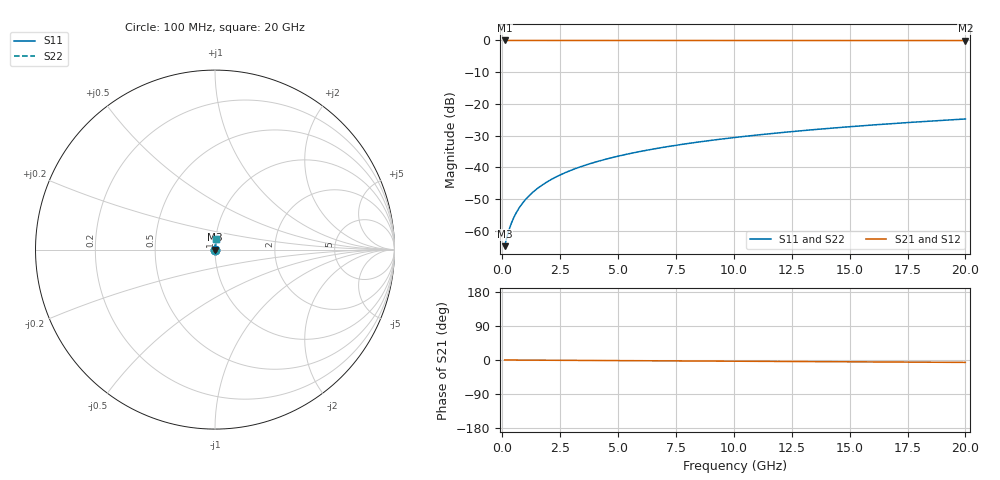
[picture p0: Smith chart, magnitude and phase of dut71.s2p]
! Touchstone file exported from HFSS 2026.1.0
!  File:  C:/ffzhzh/LocalFiles/Ansys_Project_Files/temp_train_TSV_71_1782959226_45748.aedt
!  Generated:  10:29:06 AM Jul  2, 2026
!  Design:  TSV
!  Project:  temp_train_TSV_71_1782959226_45748
! Variables:
!  h_bsmrdl = 2um
!  h_ox = 20um
!  h_rdl = 5um
!  h_sub = 50.29um
!  h_tmrdl = 5um
!  h_tsv = 50.29um
!  h_via = 3um
!  l_bsmrdl = 300um
!  l_sub = 407.24um
!  l_tmrdl = 200um
!  m_sub = 200um
!  pitch = 34.51um
!  r_tsv = 3.62um
!  s_tmrdl = 10um
!  w_bsmrdl = 18um
!  w_sub = 500um
!  w_tmrdl = 12um
!  x_tsv_center1 = 206um
!  x_tsv_center2 = 524um
!  x_tsv_center3 = 736um
!  x_tsv_center4 = 1054um
!  x_tsv_center5 = 1266um
!  x_tsv_center6 = 1584um
# GHz S MA R 50.000000
! Terminal data exported
! Port[1] = TSV1_1_T1
! Port[2] = TSV1_1_T2
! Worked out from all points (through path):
!   200 points, 100 MHz to 20 GHz, reference 50 ohm
!   highest |S21| = 0.00 dB at 100 MHz (marker M1); lowest = 0.0 dB at 20 GHz (marker M2)
!   lowest |S11| = -64.9 dB at 100 MHz (marker M3), VSWR 1.00, Z = 50 + j0.0317 ohm
!   |S11| at or under -10 dB: start of sweep to end of sweep
!   |S22| runs from -64.9 to -24.8 dB; largest |S21 - S12| = 9.3e-15
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0.1  0.0005708 33.7  0.9995 -0.0  0.9995 -0.0  0.0005708 33.7
! Gamma 0 0 0 0
! Port Impedance 50 0 50 0
0.2  0.0007933 52.3  0.9995 -0.1  0.9995 -0.1  0.0007933 52.3
0.3  0.001058 62.0  0.9995 -0.1  0.9995 -0.1  0.001058 62.0
0.4  0.001337 67.8  0.9995 -0.1  0.9995 -0.1  0.001337 67.8
0.5  0.001622 71.5  0.9995 -0.2  0.9995 -0.2  0.001622 71.5
0.6  0.001912 74.1  0.9995 -0.2  0.9995 -0.2  0.001912 74.1
0.8  0.0025 77.6  0.9995 -0.3  0.9995 -0.3  0.0025 77.6
1.1  0.00339 80.5  0.9995 -0.4  0.9995 -0.4  0.00339 80.5
1.5  0.004586 82.5  0.9994 -0.5  0.9994 -0.5  0.004586 82.5
1.8  0.005485 83.4  0.9994 -0.6  0.9994 -0.6  0.005485 83.4
2.1  0.006383 83.9  0.9994 -0.7  0.9994 -0.7  0.006383 83.9
2.7  0.008177 84.6  0.9993 -0.9  0.9993 -0.9  0.008177 84.6
3.5  0.01056 85.0  0.9992 -1.1  0.9992 -1.1  0.01056 85.0
4.2  0.01263 85.1  0.9991 -1.4  0.9991 -1.4  0.01263 85.1
5  0.01498 85.1  0.999 -1.6  0.999 -1.6  0.01498 85.1
5.9  0.0176 85.0  0.9989 -1.9  0.9989 -1.9  0.0176 85.0
6.8  0.02021 84.8  0.9987 -2.2  0.9987 -2.2  0.02021 84.8
8.3  0.02454 84.6  0.9985 -2.7  0.9985 -2.7  0.02454 84.6
10.1  0.02969 84.2  0.9982 -3.2  0.9982 -3.2  0.02969 84.2
13.4  0.03909 83.5  0.9977 -4.3  0.9977 -4.3  0.03909 83.5
16.7  0.04845 82.7  0.9971 -5.3  0.9971 -5.3  0.04845 82.7
20  0.05776 81.8  0.9964 -6.3  0.9964 -6.3  0.05776 81.8
